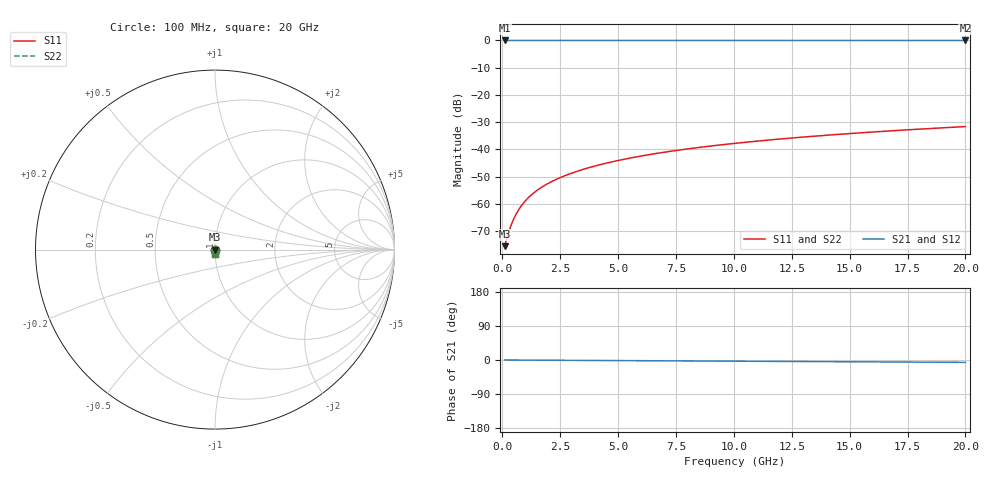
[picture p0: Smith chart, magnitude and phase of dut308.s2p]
! Touchstone file exported from HFSS 2026.1.0
!  File:  C:/ffzhzh/LocalFiles/Ansys_Project_Files/temp_train_TSV_308_1783018020_55676.aedt
!  Generated:  02:48:46 AM Jul  3, 2026
!  Design:  TSV
!  Project:  temp_train_TSV_308_1783018020_55676
! Variables:
!  h_bsmrdl = 2um
!  h_ox = 20um
!  h_rdl = 5um
!  h_sub = 62.4um
!  h_tmrdl = 5um
!  h_tsv = 62.4um
!  h_via = 3um
!  l_bsmrdl = 300um
!  l_sub = 416.88um
!  l_tmrdl = 200um
!  m_sub = 200um
!  pitch = 27.06um
!  r_tsv = 8.44um
!  s_tmrdl = 10um
!  w_bsmrdl = 18um
!  w_sub = 500um
!  w_tmrdl = 12um
!  x_tsv_center1 = 206um
!  x_tsv_center2 = 524um
!  x_tsv_center3 = 736um
!  x_tsv_center4 = 1054um
!  x_tsv_center5 = 1266um
!  x_tsv_center6 = 1584um
# GHz S MA R 50.000000
! Terminal data exported
! Port[1] = TSV1_1_T1
! Port[2] = TSV1_1_T2
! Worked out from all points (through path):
!   200 points, 100 MHz to 20 GHz, reference 50 ohm
!   highest |S21| = 0.00 dB at 100 MHz (marker M1); lowest = 0.0 dB at 20 GHz (marker M2)
!   lowest |S11| = -75.5 dB at 100 MHz (marker M3), VSWR 1.00, Z = 50 - j0.00869 ohm
!   |S11| at or under -10 dB: start of sweep to end of sweep
!   |S22| runs from -75.5 to -31.6 dB; largest |S21 - S12| = 5.3e-15
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0.1  0.0001683 -31.1  0.9999 -0.0  0.9999 -0.0  0.0001683 -31.1
! Gamma 0 0 0 0
! Port Impedance 50 0 50 0
0.3  0.0003272 -57.0  0.9998 -0.1  0.9998 -0.1  0.0003272 -57.0
0.4  0.0004289 -62.0  0.9998 -0.1  0.9998 -0.1  0.0004289 -62.0
0.5  0.0005389 -65.3  0.9998 -0.2  0.9998 -0.2  0.0005389 -65.3
0.6  0.0006546 -67.7  0.9997 -0.2  0.9997 -0.2  0.0006546 -67.7
0.8  0.0008965 -71.3  0.9997 -0.3  0.9997 -0.3  0.0008965 -71.3
0.9  0.00102 -72.7  0.9997 -0.3  0.9997 -0.3  0.00102 -72.7
1.1  0.001271 -74.9  0.9997 -0.4  0.9997 -0.4  0.001271 -74.9
1.3  0.001523 -76.6  0.9996 -0.4  0.9996 -0.4  0.001523 -76.6
1.5  0.001776 -78.0  0.9996 -0.5  0.9996 -0.5  0.001776 -78.0
1.8  0.002156 -79.6  0.9996 -0.6  0.9996 -0.6  0.002156 -79.6
2.1  0.002536 -80.8  0.9996 -0.7  0.9996 -0.7  0.002536 -80.8
2.7  0.0033 -82.5  0.9995 -0.9  0.9995 -0.9  0.0033 -82.5
3.5  0.004325 -83.9  0.9994 -1.1  0.9994 -1.1  0.004325 -83.9
4.2  0.00523 -84.8  0.9994 -1.3  0.9994 -1.3  0.00523 -84.8
5  0.006273 -85.6  0.9993 -1.6  0.9993 -1.6  0.006273 -85.6
6.8  0.008644 -87.0  0.9992 -2.1  0.9992 -2.1  0.008644 -87.0
8.3  0.01064 -88.0  0.9991 -2.6  0.9991 -2.6  0.01064 -88.0
10.1  0.01303 -89.0  0.999 -3.2  0.999 -3.2  0.01303 -89.0
13.4  0.01744 -90.6  0.9988 -4.2  0.9988 -4.2  0.01744 -90.6
16.7  0.02186 -92.0  0.9986 -5.2  0.9986 -5.2  0.02186 -92.0
20  0.02629 -93.3  0.9983 -6.2  0.9983 -6.2  0.02629 -93.3
